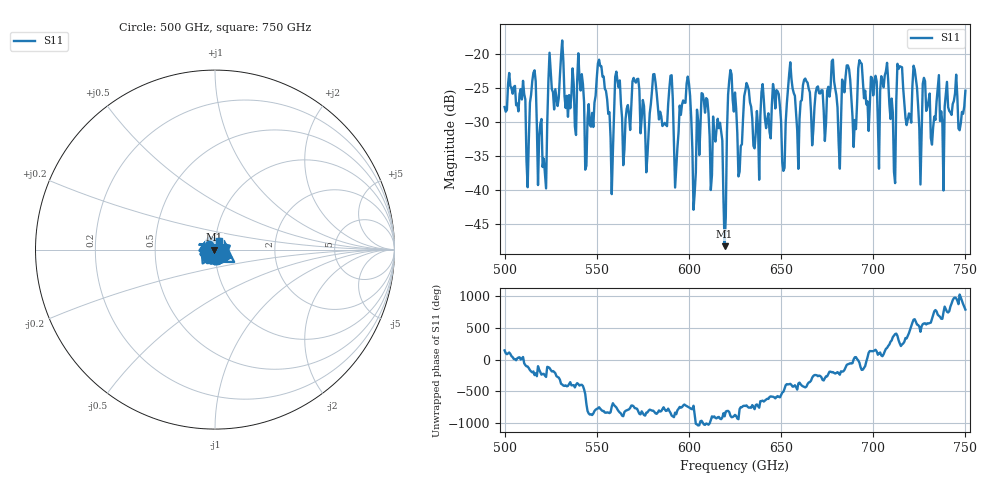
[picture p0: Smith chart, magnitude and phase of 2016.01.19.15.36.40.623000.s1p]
!Created with skrf (http://scikit-rf.org).
# GHz S RI R 50.0
!freq ReS11 ImS11
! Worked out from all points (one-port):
!   401 points, 500 GHz to 750 GHz, reference 50 ohm
!   lowest |S11| = -48.3 dB at 619.4 GHz (marker M1), VSWR 1.01, Z = 49.6 - j0.0319 ohm
!   |S11| at or under -10 dB: start of sweep to end of sweep
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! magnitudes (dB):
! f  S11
! 500 GHz  -27.7
! 513.1 GHz  -32.7
! 515.6 GHz  -22.7
! 521.9 GHz  -37.6
! 524.4 GHz  -19.7
! 531.2 GHz  -17.9
! 545 GHz  -29.4
! 551.2 GHz  -20.8
! 557.5 GHz  -32.3
! 562.5 GHz  -23.8
! 577.5 GHz  -34.9
! 590 GHz  -23.1
! 593.8 GHz  -33.8
! 599.4 GHz  -23.3
! 603.1 GHz  -40.4
! 608.1 GHz  -26.9
! 619.4 GHz  -48.3
! 621.9 GHz  -23.8
! 625 GHz  -25.6
! 646.9 GHz  -28.0
! 651.2 GHz  -37.2
! 656.2 GHz  -25.0
! 687.5 GHz  -23.7
! 706.9 GHz  -22.5
! 710.6 GHz  -28.6
! 714.4 GHz  -21.7
! 718.8 GHz  -29.6
! 750 GHz  -25.3
